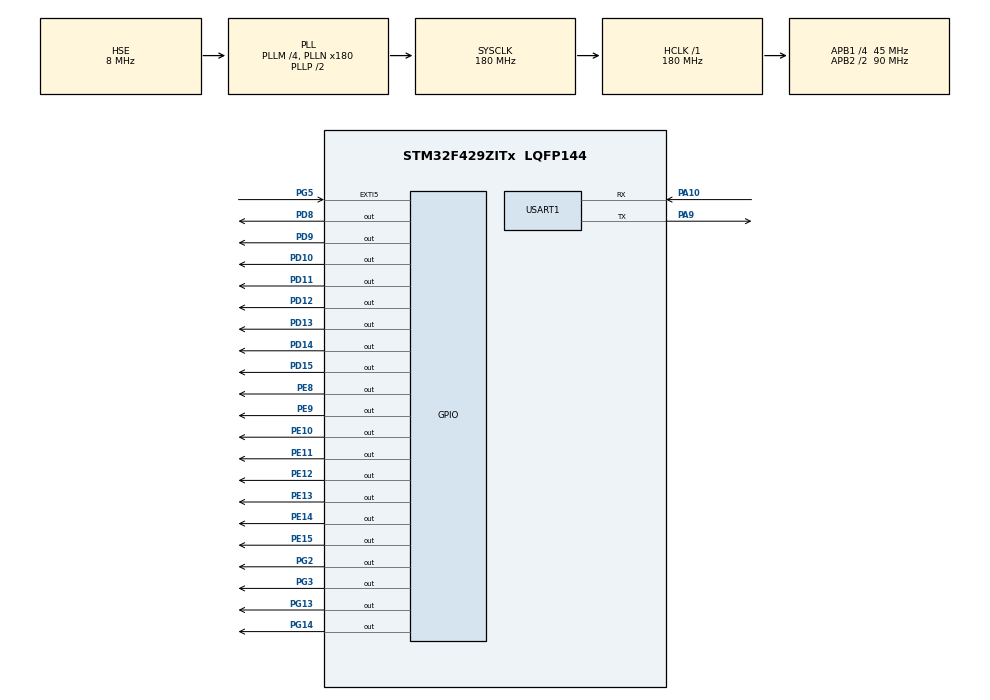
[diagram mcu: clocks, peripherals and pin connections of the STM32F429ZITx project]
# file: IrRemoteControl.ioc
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Mcu.Family=STM32F4
Mcu.Name=STM32F429ZITx
Mcu.Package=LQFP144
NVIC.EXTI9_5_IRQn=true\:0\:0\:false\:false\:true\:true\:true\:true
NVIC.PriorityGroup=NVIC_PRIORITYGROUP_4
NVIC.TIM6_DAC_IRQn=true\:0\:0\:false\:false\:true\:true\:true\:true
PA10.Mode=Asynchronous
PA10.Signal=USART1_RX
PA9.Mode=Asynchronous
PA9.Signal=USART1_TX
PD10.Signal=GPIO_Output
PD11.Signal=GPIO_Output
PD12.Signal=GPIO_Output
PD13.Signal=GPIO_Output
PD14.Signal=GPIO_Output
PD15.Signal=GPIO_Output
PD8.Signal=GPIO_Output
PD9.Signal=GPIO_Output
PE10.Signal=GPIO_Output
PE11.Signal=GPIO_Output
PE12.Signal=GPIO_Output
PE13.Signal=GPIO_Output
PE14.Signal=GPIO_Output
PE15.Signal=GPIO_Output
PE8.Signal=GPIO_Output
PE9.Signal=GPIO_Output
PG13.Signal=GPIO_Output
PG14.Signal=GPIO_Output
PG2.Signal=GPIO_Output
PG3.Signal=GPIO_Output
PG5.GPIO_ModeDefaultEXTI=GPIO_MODE_IT_FALLING
PG5.GPIO_PuPd=GPIO_PULLUP
PG5.Signal=GPXTI5
PH0/OSC_IN.Mode=HSE-External-Oscillator
PH0/OSC_IN.Signal=RCC_OSC_IN
PH1/OSC_OUT.Mode=HSE-External-Oscillator
PH1/OSC_OUT.Signal=RCC_OSC_OUT
ProjectManager.HeapSize=0x200
ProjectManager.StackSize=0x400
ProjectManager.TargetToolchain=STM32CubeIDE
RCC.48MHZClocksFreq_Value=90000000
RCC.AHBFreq_Value=180000000
RCC.APB1CLKDivider=RCC_HCLK_DIV4
RCC.APB1Freq_Value=45000000
RCC.APB1TimFreq_Value=90000000
RCC.APB2CLKDivider=RCC_HCLK_DIV2
RCC.APB2Freq_Value=90000000
RCC.APB2TimFreq_Value=180000000
RCC.CortexFreq_Value=180000000
RCC.HCLKFreq_Value=180000000
RCC.HSE_VALUE=8000000
RCC.HSI_VALUE=16000000
RCC.LSE_VALUE=32768
RCC.PLLM=4
RCC.PLLN=180
RCC.PLLSourceVirtual=RCC_PLLSOURCE_HSE
RCC.SYSCLKFreq_VALUE=180000000
RCC.SYSCLKSource=RCC_SYSCLKSOURCE_PLLCLK
RCC.VCOOutputFreq_Value=360000000
TIM6.Period=99
TIM6.Prescaler=89
USART1.VirtualMode=VM_ASYNC
VP_TIM6_VS_ClockSourceINT.Mode=Enable_Timer
board=custom

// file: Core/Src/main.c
/* USER CODE BEGIN Header */
/**
  ******************************************************************************
  * @file           : main.c
  * @brief          : Main program body
  ******************************************************************************
  * @attention
  *
  * Copyright (c) 2026 STMicroelectronics.
  * All rights reserved.
  *
  * This software is licensed under t
  *
  *
  *
  *
  *
  *
  *
  * erms that can be found in the LICENSE file
  * in the root directory of this software component.
  * If no LICENSE file comes with this software, it is provided AS-IS.
  *
  ******************************************************************************
  */
#include "7seg.h"
/* USER CODE END Header */
#include "main.h"

/* USER CODE BEGIN Includes */
#include "irda.h"
#include "stdio.h"
#include "string.h"
/* USER CODE END Includes */

TIM_HandleTypeDef htim6;

UART_HandleTypeDef huart1;

/* USER CODE BEGIN PV */
int tim6_count;
int LED_Seg_Value;
unsigned char LED_Value;
int mode;
/* USER CODE END PV */

void SystemClock_Config(void);
static void MX_GPIO_Init(void);
static void MX_TIM6_Init(void);
static void MX_USART1_UART_Init(void);

/* USER CODE BEGIN 0 */
extern int command_ok;
extern unsigned char irda_cmd[4];

void DisplayLEDsRunningSpotL(int mode)
{
	if (mode == 1)
	{
		LED_Value = (LED_Value >> 1) | (LED_Value << 7);
	}
	if (LED_Value & 0x80)
		HAL_GPIO_WritePin(GPIOD, GPIO_PIN_15, GPIO_PIN_SET);
	else
		HAL_GPIO_WritePin(GPIOD, GPIO_PIN_15, GPIO_PIN_RESET);
	if (LED_Value & 0x40)
		HAL_GPIO_WritePin(GPIOD, GPIO_PIN_14, GPIO_PIN_SET);
	else
		HAL_GPIO_WritePin(GPIOD, GPIO_PIN_14, GPIO_PIN_RESET);
	if (LED_Value & 0x20)
		HAL_GPIO_WritePin(GPIOD, GPIO_PIN_13, GPIO_PIN_SET);
	else
		HAL_GPIO_WritePin(GPIOD, GPIO_PIN_13, GPIO_PIN_RESET);
	if (LED_Value & 0x10)
		HAL_GPIO_WritePin(GPIOD, GPIO_PIN_12, GPIO_PIN_SET);
	else
		HAL_GPIO_WritePin(GPIOD, GPIO_PIN_12, GPIO_PIN_RESET);
	if (LED_Value & 0x8)
		HAL_GPIO_WritePin(GPIOD, GPIO_PIN_11, GPIO_PIN_SET);
	else
		HAL_GPIO_WritePin(GPIOD, GPIO_PIN_11, GPIO_PIN_RESET);
	if (LED_Value & 0x4)
		HAL_GPIO_WritePin(GPIOD, GPIO_PIN_10, GPIO_PIN_SET);
	else
		HAL_GPIO_WritePin(GPIOD, GPIO_PIN_10, GPIO_PIN_RESET);
	if (LED_Value & 0x2)
		HAL_GPIO_WritePin(GPIOD, GPIO_PIN_9, GPIO_PIN_SET);
	else
		HAL_GPIO_WritePin(GPIOD, GPIO_PIN_9, GPIO_PIN_RESET);
	if (LED_Value & 0x1)
		HAL_GPIO_WritePin(GPIOD, GPIO_PIN_8, GPIO_PIN_SET);
	else
		HAL_GPIO_WritePin(GPIOD, GPIO_PIN_8, GPIO_PIN_RESET);
}

void DisplayLEDsRunningSpotR(int mode)
{
	if (mode == 2)
	{
		LED_Value = (LED_Value << 1) | (LED_Value >> 7);
	}
	if (LED_Value & 0x80)
		HAL_GPIO_WritePin(GPIOD, GPIO_PIN_15, GPIO_PIN_SET);
	else
		HAL_GPIO_WritePin(GPIOD, GPIO_PIN_15, GPIO_PIN_RESET);
	if (LED_Value & 0x40)
		HAL_GPIO_WritePin(GPIOD, GPIO_PIN_14, GPIO_PIN_SET);
	else
		HAL_GPIO_WritePin(GPIOD, GPIO_PIN_14, GPIO_PIN_RESET);
	if (LED_Value & 0x20)
		HAL_GPIO_WritePin(GPIOD, GPIO_PIN_13, GPIO_PIN_SET);
	else
		HAL_GPIO_WritePin(GPIOD, GPIO_PIN_13, GPIO_PIN_RESET);
	if (LED_Value & 0x10)
		HAL_GPIO_WritePin(GPIOD, GPIO_PIN_12, GPIO_PIN_SET);
	else
		HAL_GPIO_WritePin(GPIOD, GPIO_PIN_12, GPIO_PIN_RESET);
	if (LED_Value & 0x8)
		HAL_GPIO_WritePin(GPIOD, GPIO_PIN_11, GPIO_PIN_SET);
	else
		HAL_GPIO_WritePin(GPIOD, GPIO_PIN_11, GPIO_PIN_RESET);
	if (LED_Value & 0x4)
		HAL_GPIO_WritePin(GPIOD, GPIO_PIN_10, GPIO_PIN_SET);
	else
		HAL_GPIO_WritePin(GPIOD, GPIO_PIN_10, GPIO_PIN_RESET);
	if (LED_Value & 0x2)
		HAL_GPIO_WritePin(GPIOD, GPIO_PIN_9, GPIO_PIN_SET);
	else
		HAL_GPIO_WritePin(GPIOD, GPIO_PIN_9, GPIO_PIN_RESET);
	if (LED_Value & 0x1)
		HAL_GPIO_WritePin(GPIOD, GPIO_PIN_8, GPIO_PIN_SET);
	else
		HAL_GPIO_WritePin(GPIOD, GPIO_PIN_8, GPIO_PIN_RESET);
}

void DisplayLEDsFlash(int mode)
{
    if (mode != 3)
    {
    	return;
    }

    if (LED_Value == 1)
    {
    	LED_Value = 0;
        HAL_GPIO_WritePin(GPIOD, GPIO_PIN_15, GPIO_PIN_SET);
        HAL_GPIO_WritePin(GPIOD, GPIO_PIN_14, GPIO_PIN_SET);
        HAL_GPIO_WritePin(GPIOD, GPIO_PIN_13, GPIO_PIN_SET);
        HAL_GPIO_WritePin(GPIOD, GPIO_PIN_12, GPIO_PIN_SET);
        HAL_GPIO_WritePin(GPIOD, GPIO_PIN_11, GPIO_PIN_SET);
        HAL_GPIO_WritePin(GPIOD, GPIO_PIN_10, GPIO_PIN_SET);
        HAL_GPIO_WritePin(GPIOD, GPIO_PIN_9,  GPIO_PIN_SET);
        HAL_GPIO_WritePin(GPIOD, GPIO_PIN_8,  GPIO_PIN_SET);
    }
    else if (LED_Value == 0)
    {
    	LED_Value = 1;
        HAL_GPIO_WritePin(GPIOD, GPIO_PIN_15, GPIO_PIN_RESET);
        HAL_GPIO_WritePin(GPIOD, GPIO_PIN_14, GPIO_PIN_RESET);
        HAL_GPIO_WritePin(GPIOD, GPIO_PIN_13, GPIO_PIN_RESET);
        HAL_GPIO_WritePin(GPIOD, GPIO_PIN_12, GPIO_PIN_RESET);
        HAL_GPIO_WritePin(GPIOD, GPIO_PIN_11, GPIO_PIN_RESET);
        HAL_GPIO_WritePin(GPIOD, GPIO_PIN_10, GPIO_PIN_RESET);
        HAL_GPIO_WritePin(GPIOD, GPIO_PIN_9,  GPIO_PIN_RESET);
        HAL_GPIO_WritePin(GPIOD, GPIO_PIN_8,  GPIO_PIN_RESET);
    }
}

void DisplayLEDsSpotBumber(int mode)
{
	if (mode == 4)
	{
		LED_Value = (LED_Value << 1) | (LED_Value >> 7);
		if (LED_Value & 0x10)
		{
			LED_Value = LED_Value << 1;
		}
		else if (LED_Value & 0x01)
		{
			LED_Value = LED_Value << 1;
		}
	}

	if (LED_Value & 0x01 || LED_Value & 0x80)
	{
		HAL_GPIO_WritePin(GPIOD, GPIO_PIN_15, GPIO_PIN_SET);
		HAL_GPIO_WritePin(GPIOD, GPIO_PIN_8, GPIO_PIN_SET);
	}
	else
	{
        HAL_GPIO_WritePin(GPIOD, GPIO_PIN_15, GPIO_PIN_RESET);
        HAL_GPIO_WritePin(GPIOD, GPIO_PIN_8, GPIO_PIN_RESET);
	}
	if (LED_Value & 0x02 || LED_Value & 0x40)
	{
		HAL_GPIO_WritePin(GPIOD, GPIO_PIN_14, GPIO_PIN_SET);
		HAL_GPIO_WritePin(GPIOD, GPIO_PIN_9, GPIO_PIN_SET);
	}
	else
	{
        HAL_GPIO_WritePin(GPIOD, GPIO_PIN_14, GPIO_PIN_RESET);
        HAL_GPIO_WritePin(GPIOD, GPIO_PIN_9, GPIO_PIN_RESET);
	}
	if (LED_Value & 0x04 || LED_Value & 0x20)
	{
		HAL_GPIO_WritePin(GPIOD, GPIO_PIN_13, GPIO_PIN_SET);
		HAL_GPIO_WritePin(GPIOD, GPIO_PIN_10, GPIO_PIN_SET);
	}
	else
	{
        HAL_GPIO_WritePin(GPIOD, GPIO_PIN_13, GPIO_PIN_RESET);
        HAL_GPIO_WritePin(GPIOD, GPIO_PIN_10, GPIO_PIN_RESET);
	}
	if (LED_Value & 0x08 || LED_Value & 0x10)
	{
		HAL_GPIO_WritePin(GPIOD, GPIO_PIN_12, GPIO_PIN_SET);
		HAL_GPIO_WritePin(GPIOD, GPIO_PIN_11, GPIO_PIN_SET);
	}
	else
	{
        HAL_GPIO_WritePin(GPIOD, GPIO_PIN_12, GPIO_PIN_RESET);
        HAL_GPIO_WritePin(GPIOD, GPIO_PIN_11, GPIO_PIN_RESET);
	}
}

/* Integrate all option into one function */
void DisplayLEDs(int mode){
	switch (mode){
		case 1:
			DisplayLEDsRunningSpotL(mode);
			break;
		case 2:
			DisplayLEDsRunningSpotR(mode);
			break;
		case 3:
			DisplayLEDsFlash(mode);
			break;
		case 4:
			DisplayLEDsSpotBumber(mode);
		default:
			break;

	}
}

void Reset()
{
    HAL_GPIO_WritePin(GPIOD, GPIO_PIN_15, GPIO_PIN_RESET);
    HAL_GPIO_WritePin(GPIOD, GPIO_PIN_14, GPIO_PIN_RESET);
    HAL_GPIO_WritePin(GPIOD, GPIO_PIN_13, GPIO_PIN_RESET);
    HAL_GPIO_WritePin(GPIOD, GPIO_PIN_12, GPIO_PIN_RESET);
    HAL_GPIO_WritePin(GPIOD, GPIO_PIN_11, GPIO_PIN_RESET);
    HAL_GPIO_WritePin(GPIOD, GPIO_PIN_10, GPIO_PIN_RESET);
    HAL_GPIO_WritePin(GPIOD, GPIO_PIN_9,  GPIO_PIN_RESET);
    HAL_GPIO_WritePin(GPIOD, GPIO_PIN_8,  GPIO_PIN_RESET);
    LED_Value = 1;
}

void DecimalDecode(void)
{
	Reset();
    switch (irda_cmd[2])
    {
        case 0x45:
           LED_Seg_Value = 1;
           mode = 1;
            break;

        case 0x46:
        	LED_Seg_Value = 2;
        	mode = 2;
            break;

        case 0x47:
        	LED_Seg_Value = 3;
        	mode = 3;
            break;

        case 0x44:
        	LED_Seg_Value = 4;
        	mode = 4;
            break;

        case 0x1C:
        	LED_Seg_Value = 0;
        	HAL_GPIO_TogglePin(GPIOG, GPIO_PIN_14); /* Failed to implement this */
            break;

        default:
            break;
    }
}
/* USER CODE END 0 */

int main(void)
{

  /* MCU Configuration--------------------------------------------------------*/

  /* Reset of all peripherals, Initializes the Flash interface and the Systick. */
  HAL_Init();

  /* Configure the system clock */
  SystemClock_Config();

  /* Initialize all configured peripherals */
  MX_GPIO_Init();
  MX_TIM6_Init();
  MX_USART1_UART_Init();
  /* USER CODE BEGIN 2 */
  HAL_TIM_Base_Start_IT(&htim6);
  command_ok = 0;
  tim6_count = 0;
  LED_Seg_Value = 25;
  mode = 1;
  LED_Value = 1;
  Set7SegDisplayValue(LED_Seg_Value);
  /* USER CODE END 2 */

  /* Infinite loop */
  /* USER CODE BEGIN WHILE */
  while (1)
  {
	  //turn off 2 LEDs
	  HAL_GPIO_TogglePin(GPIOG, GPIO_PIN_13);
	  //delay
	  HAL_Delay(50);
	  Run7SegDisplay();
	  DisplayLEDs(mode);

	  /*
	  if (command_ok)
	  {
		  char buf[256];
		  IrDecode();
		  sprintf(buf, "%02x%02x%02x%02x\n", irda_cmd[0], irda_cmd[1], irda_cmd[2], irda_cmd[3]);
		  HAL_UART_Transmit(&huart1, (const uint8_t *)buf, strlen(buf), 2);
		  command_ok = 0;
	  }
	  */

	  if (command_ok)
	  {
	      char buf[256];
	      IrDecode();

	      LED_Seg_Value = irda_cmd[2];
	      DecimalDecode();
	      Set7SegDisplayValue(LED_Seg_Value);

	      sprintf(buf, "%02X %02X %02X %02X\r\n", irda_cmd[0], irda_cmd[1], irda_cmd[2], irda_cmd[3]);
	      HAL_UART_Transmit(&huart1, (uint8_t *)buf, strlen(buf), 2);
	      command_ok = 0;
	  }

    /* USER CODE END WHILE */

  }
}

void SystemClock_Config(void)
{
  RCC_OscInitTypeDef RCC_OscInitStruct = {0};
  RCC_ClkInitTypeDef RCC_ClkInitStruct = {0};

  /** Configure the main internal regulator output voltage
  */
  __HAL_RCC_PWR_CLK_ENABLE();
  __HAL_PWR_VOLTAGESCALING_CONFIG(PWR_REGULATOR_VOLTAGE_SCALE1);

  /** Initializes the RCC Oscillators according to the specified parameters
  * in the RCC_OscInitTypeDef structure.
  */
  RCC_OscInitStruct.OscillatorType = RCC_OSCILLATORTYPE_HSE;
  RCC_OscInitStruct.HSEState = RCC_HSE_ON;
  RCC_OscInitStruct.PLL.PLLState = RCC_PLL_ON;
  RCC_OscInitStruct.PLL.PLLSource = RCC_PLLSOURCE_HSE;
  RCC_OscInitStruct.PLL.PLLM = 4;
  RCC_OscInitStruct.PLL.PLLN = 180;
  RCC_OscInitStruct.PLL.PLLP = RCC_PLLP_DIV2;
  RCC_OscInitStruct.PLL.PLLQ = 4;
  if (HAL_RCC_OscConfig(&RCC_OscInitStruct) != HAL_OK)
  {
    Error_Handler();
  }

  /** Activate the Over-Drive mode
  */
  if (HAL_PWREx_EnableOverDrive() != HAL_OK)
  {
    Error_Handler();
  }

  /** Initializes the CPU, AHB and APB buses clocks
  */
  RCC_ClkInitStruct.ClockType = RCC_CLOCKTYPE_HCLK|RCC_CLOCKTYPE_SYSCLK
                              |RCC_CLOCKTYPE_PCLK1|RCC_CLOCKTYPE_PCLK2;
  RCC_ClkInitStruct.SYSCLKSource = RCC_SYSCLKSOURCE_PLLCLK;
  RCC_ClkInitStruct.AHBCLKDivider = RCC_SYSCLK_DIV1;
  RCC_ClkInitStruct.APB1CLKDivider = RCC_HCLK_DIV4;
  RCC_ClkInitStruct.APB2CLKDivider = RCC_HCLK_DIV2;

  if (HAL_RCC_ClockConfig(&RCC_ClkInitStruct, FLASH_LATENCY_5) != HAL_OK)
  {
    Error_Handler();
  }
}

static void MX_TIM6_Init(void)
{

  TIM_MasterConfigTypeDef sMasterConfig = {0};

  htim6.Instance = TIM6;
  htim6.Init.Prescaler = 89;
  htim6.Init.CounterMode = TIM_COUNTERMODE_UP;
  htim6.Init.Period = 99;
  htim6.Init.AutoReloadPreload = TIM_AUTORELOAD_PRELOAD_DISABLE;
  if (HAL_TIM_Base_Init(&htim6) != HAL_OK)
  {
    Error_Handler();
  }
  sMasterConfig.MasterOutputTrigger = TIM_TRGO_RESET;
  sMasterConfig.MasterSlaveMode = TIM_MASTERSLAVEMODE_DISABLE;
  if (HAL_TIMEx_MasterConfigSynchronization(&htim6, &sMasterConfig) != HAL_OK)
  {
    Error_Handler();
  }

}

static void MX_USART1_UART_Init(void)
{

  huart1.Instance = USART1;
  huart1.Init.BaudRate = 115200;
  huart1.Init.WordLength = UART_WORDLENGTH_8B;
  huart1.Init.StopBits = UART_STOPBITS_1;
  huart1.Init.Parity = UART_PARITY_NONE;
  huart1.Init.Mode = UART_MODE_TX_RX;
  huart1.Init.HwFlowCtl = UART_HWCONTROL_NONE;
  huart1.Init.OverSampling = UART_OVERSAMPLING_16;
  if (HAL_UART_Init(&huart1) != HAL_OK)
  {
    Error_Handler();
  }

}

static void MX_GPIO_Init(void)
{
  GPIO_InitTypeDef GPIO_InitStruct = {0};

  /* GPIO Ports Clock Enable */
  __HAL_RCC_GPIOH_CLK_ENABLE();
  __HAL_RCC_GPIOE_CLK_ENABLE();
  __HAL_RCC_GPIOD_CLK_ENABLE();
  __HAL_RCC_GPIOG_CLK_ENABLE();
  __HAL_RCC_GPIOA_CLK_ENABLE();

  /*Configure GPIO pin Output Level */
  HAL_GPIO_WritePin(GPIOE, GPIO_PIN_8|GPIO_PIN_9|GPIO_PIN_10|GPIO_PIN_11
                          |GPIO_PIN_12|GPIO_PIN_13|GPIO_PIN_14|GPIO_PIN_15, GPIO_PIN_RESET);

  /*Configure GPIO pin Output Level */
  HAL_GPIO_WritePin(GPIOD, GPIO_PIN_8|GPIO_PIN_9|GPIO_PIN_10|GPIO_PIN_11
                          |GPIO_PIN_12|GPIO_PIN_13|GPIO_PIN_14|GPIO_PIN_15, GPIO_PIN_RESET);

  /*Configure GPIO pin Output Level */
  HAL_GPIO_WritePin(GPIOG, GPIO_PIN_2|GPIO_PIN_3|GPIO_PIN_13|GPIO_PIN_14, GPIO_PIN_RESET);

  /*Configure GPIO pins : PE8 PE9 PE10 PE11
                           PE12 PE13 PE14 PE15 */
  GPIO_InitStruct.Pin = GPIO_PIN_8|GPIO_PIN_9|GPIO_PIN_10|GPIO_PIN_11
                          |GPIO_PIN_12|GPIO_PIN_13|GPIO_PIN_14|GPIO_PIN_15;
  GPIO_InitStruct.Mode = GPIO_MODE_OUTPUT_PP;
  GPIO_InitStruct.Pull = GPIO_NOPULL;
  GPIO_InitStruct.Speed = GPIO_SPEED_FREQ_LOW;
  HAL_GPIO_Init(GPIOE, &GPIO_InitStruct);

  /*Configure GPIO pins : PD8 PD9 PD10 PD11
                           PD12 PD13 PD14 PD15 */
  GPIO_InitStruct.Pin = GPIO_PIN_8|GPIO_PIN_9|GPIO_PIN_10|GPIO_PIN_11
                          |GPIO_PIN_12|GPIO_PIN_13|GPIO_PIN_14|GPIO_PIN_15;
  GPIO_InitStruct.Mode = GPIO_MODE_OUTPUT_PP;
  GPIO_InitStruct.Pull = GPIO_NOPULL;
  GPIO_InitStruct.Speed = GPIO_SPEED_FREQ_LOW;
  HAL_GPIO_Init(GPIOD, &GPIO_InitStruct);

  /*Configure GPIO pins : PG2 PG3 PG13 PG14 */
  GPIO_InitStruct.Pin = GPIO_PIN_2|GPIO_PIN_3|GPIO_PIN_13|GPIO_PIN_14;
  GPIO_InitStruct.Mode = GPIO_MODE_OUTPUT_PP;
  GPIO_InitStruct.Pull = GPIO_NOPULL;
  GPIO_InitStruct.Speed = GPIO_SPEED_FREQ_LOW;
  HAL_GPIO_Init(GPIOG, &GPIO_InitStruct);

  /*Configure GPIO pin : PG5 */
  GPIO_InitStruct.Pin = GPIO_PIN_5;
  GPIO_InitStruct.Mode = GPIO_MODE_IT_FALLING;
  GPIO_InitStruct.Pull = GPIO_PULLUP;
  HAL_GPIO_Init(GPIOG, &GPIO_InitStruct);

  /* EXTI interrupt init*/
  HAL_NVIC_SetPriority(EXTI9_5_IRQn, 0, 0);
  HAL_NVIC_EnableIRQ(EXTI9_5_IRQn);

}

void Error_Handler(void)
{
  __disable_irq();
  while (1)
  {
  }
}
